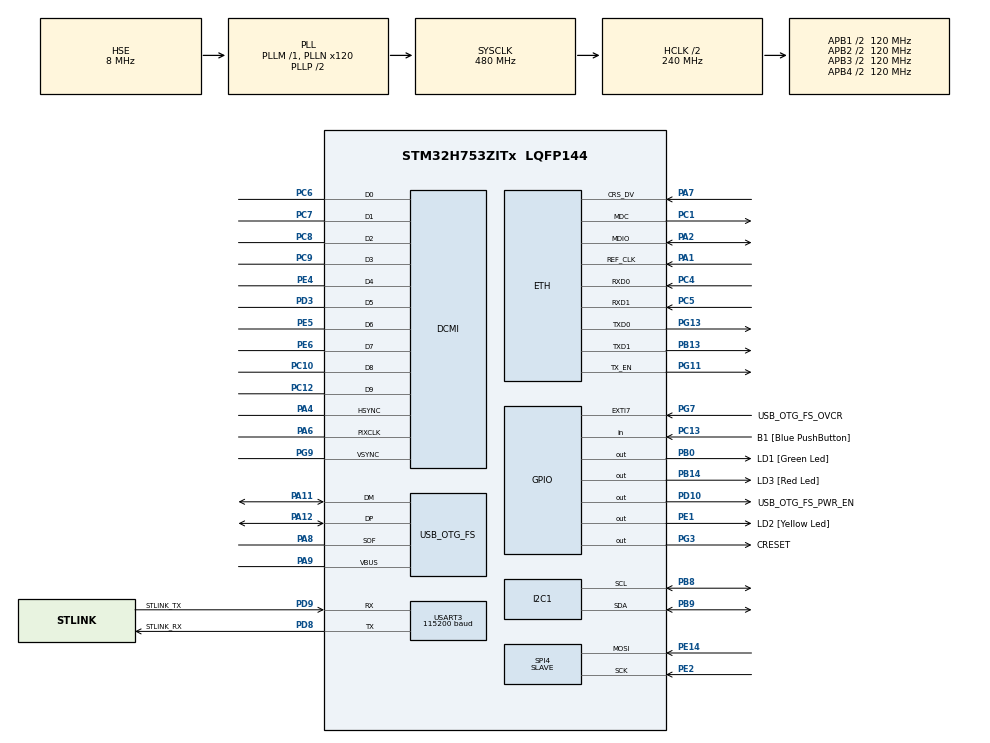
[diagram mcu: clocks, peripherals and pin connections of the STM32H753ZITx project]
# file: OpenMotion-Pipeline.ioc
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CORTEX_M7.CPU_DCache=Disabled
CORTEX_M7.CPU_ICache=Disabled
CORTEX_M7.MPU_Control=__NULL
DCMI.HSPolarity=DCMI_HSPOLARITY_HIGH
DCMI.PCKPolarity=DCMI_PCKPOLARITY_FALLING
DCMI.VSPolarity=DCMI_VSPOLARITY_HIGH
Dma.Request0=USART3_RX
Dma.Request1=USART3_TX
Dma.USART3_RX.0.Direction=DMA_PERIPH_TO_MEMORY
Dma.USART3_RX.0.EventEnable=DISABLE
Dma.USART3_RX.0.FIFOMode=DMA_FIFOMODE_DISABLE
Dma.USART3_RX.0.Instance=DMA1_Stream0
Dma.USART3_RX.0.MemDataAlignment=DMA_MDATAALIGN_BYTE
Dma.USART3_RX.0.MemInc=DMA_MINC_ENABLE
Dma.USART3_RX.0.Mode=DMA_NORMAL
Dma.USART3_RX.0.PeriphDataAlignment=DMA_PDATAALIGN_BYTE
Dma.USART3_RX.0.PeriphInc=DMA_PINC_DISABLE
Dma.USART3_RX.0.Polarity=HAL_DMAMUX_REQ_GEN_RISING
Dma.USART3_RX.0.Priority=DMA_PRIORITY_LOW
Dma.USART3_RX.0.RequestNumber=1
Dma.USART3_RX.0.SignalID=NONE
Dma.USART3_RX.0.SyncEnable=DISABLE
Dma.USART3_RX.0.SyncPolarity=HAL_DMAMUX_SYNC_NO_EVENT
Dma.USART3_RX.0.SyncRequestNumber=1
Dma.USART3_RX.0.SyncSignalID=NONE
Dma.USART3_TX.1.Direction=DMA_MEMORY_TO_PERIPH
Dma.USART3_TX.1.EventEnable=DISABLE
Dma.USART3_TX.1.FIFOMode=DMA_FIFOMODE_DISABLE
Dma.USART3_TX.1.Instance=DMA1_Stream1
Dma.USART3_TX.1.MemDataAlignment=DMA_MDATAALIGN_BYTE
Dma.USART3_TX.1.MemInc=DMA_MINC_ENABLE
Dma.USART3_TX.1.Mode=DMA_NORMAL
Dma.USART3_TX.1.PeriphDataAlignment=DMA_PDATAALIGN_BYTE
Dma.USART3_TX.1.PeriphInc=DMA_PINC_DISABLE
Dma.USART3_TX.1.Polarity=HAL_DMAMUX_REQ_GEN_RISING
Dma.USART3_TX.1.Priority=DMA_PRIORITY_LOW
Dma.USART3_TX.1.RequestNumber=1
Dma.USART3_TX.1.SignalID=NONE
Dma.USART3_TX.1.SyncEnable=DISABLE
Dma.USART3_TX.1.SyncPolarity=HAL_DMAMUX_SYNC_NO_EVENT
Dma.USART3_TX.1.SyncRequestNumber=1
Dma.USART3_TX.1.SyncSignalID=NONE
ETH.ETH_RX_DESC_CNT=4
ETH.ETH_TX_DESC_CNT=4
ETH.MACAddr=00\:80\:E1\:00\:00\:00
ETH.MediaInterface=HAL_ETH_RMII_MODE
ETH.RxBuffAddress=0x30040200
ETH.RxBuffLen=1524
ETH.RxDescAddress=0x30040000
ETH.TxDescAddress=0x30040060
FREERTOS.Tasks01=defaultTask,24,128,StartDefaultTask,Default,NULL,Dynamic,NULL,NULL
FREERTOS.configUSE_NEWLIB_REENTRANT=1
I2C1.Timing=0x307075B1
LWIP.BSP.number=1
LWIP.Version=v2.1.2_Cube
LWIP0.BSP.STBoard=false
LWIP0.BSP.api=BSP_COMPONENT_DRIVER
LWIP0.BSP.component=LAN8742
LWIP0.BSP.instance=LAN8742
LWIP0.BSP.name=Driver_PHY
LWIP0.BSP.semaphore=S_LAN8742
LWIP0.BSP.solution=LAN8742
Mcu.Family=STM32H7
Mcu.Name=STM32H753ZITx
Mcu.Package=LQFP144
NVIC.DCMI_IRQn=true\:5\:0\:false\:false\:true\:true\:true\:true\:true
NVIC.DMA1_Stream0_IRQn=true\:5\:0\:false\:false\:true\:true\:false\:true\:true
NVIC.DMA1_Stream1_IRQn=true\:5\:0\:false\:false\:true\:true\:false\:true\:true
NVIC.OTG_FS_IRQn=true\:5\:0\:false\:false\:true\:true\:false\:true\:true
NVIC.PriorityGroup=NVIC_PRIORITYGROUP_4
NVIC.TIM7_IRQn=true\:15\:0\:false\:false\:true\:false\:false\:true\:true
NVIC.TimeBase=TIM7_IRQn
NVIC.TimeBaseIP=TIM7
NVIC.USART3_IRQn=true\:5\:0\:false\:false\:true\:true\:true\:true\:true
PA1.Mode=RMII
PA1.Signal=ETH_REF_CLK
PA11.Mode=Device_Only
PA11.Signal=USB_OTG_FS_DM
PA12.Mode=Device_Only
PA12.Signal=USB_OTG_FS_DP
PA13\ (JTMS/SWDIO).Mode=Serial_Wire
PA13\ (JTMS/SWDIO).Signal=DEBUG_JTMS-SWDIO
PA14\ (JTCK/SWCLK).Mode=Serial_Wire
PA14\ (JTCK/SWCLK).Signal=DEBUG_JTCK-SWCLK
PA2.Mode=RMII
PA2.Signal=ETH_MDIO
PA4.Mode=Slave_10_bits_External_Synchro
PA4.Signal=DCMI_HSYNC
PA6.Mode=Slave_10_bits_External_Synchro
PA6.Signal=DCMI_PIXCLK
PA7.Mode=RMII
PA7.Signal=ETH_CRS_DV
PA8.Mode=Activate_SOF_FS
PA8.Signal=USB_OTG_FS_SOF
PA9.Mode=Activate_VBUS
PA9.Signal=USB_OTG_FS_VBUS
PB0.GPIO_Label=LD1 [Green Led]
PB0.Signal=GPIO_Output
PB13.Mode=RMII
PB13.Signal=ETH_TXD1
PB14.GPIO_Label=LD3 [Red Led]
PB14.Signal=GPIO_Output
PB8.Mode=I2C
PB8.Signal=I2C1_SCL
PB9.Mode=I2C
PB9.Signal=I2C1_SDA
PC1.Mode=RMII
PC1.Signal=ETH_MDC
PC10.Mode=Slave_10_bits_External_Synchro
PC10.Signal=DCMI_D8
PC12.Mode=Slave_10_bits_External_Synchro
PC12.Signal=DCMI_D9
PC13.GPIO_Label=B1 [Blue PushButton]
PC13.Signal=GPIO_Input
PC14-OSC32_IN\ (OSC32_IN).Mode=LSE-External-Oscillator
PC14-OSC32_IN\ (OSC32_IN).Signal=RCC_OSC32_IN
PC15-OSC32_OUT\ (OSC32_OUT).Mode=LSE-External-Oscillator
PC15-OSC32_OUT\ (OSC32_OUT).Signal=RCC_OSC32_OUT
PC4.Mode=RMII
PC4.Signal=ETH_RXD0
PC5.Mode=RMII
PC5.Signal=ETH_RXD1
PC6.Mode=Slave_10_bits_External_Synchro
PC6.Signal=DCMI_D0
PC7.Mode=Slave_10_bits_External_Synchro
PC7.Signal=DCMI_D1
PC8.Mode=Slave_10_bits_External_Synchro
PC8.Signal=DCMI_D2
PC9.Mode=Slave_10_bits_External_Synchro
PC9.Signal=DCMI_D3
PD10.GPIO_Label=USB_OTG_FS_PWR_EN
PD10.Signal=GPIO_Output
PD3.Mode=Slave_10_bits_External_Synchro
PD3.Signal=DCMI_D5
PD8.GPIO_Label=STLINK_RX
PD8.Mode=Asynchronous
PD8.Signal=USART3_TX
PD9.GPIO_Label=STLINK_TX
PD9.Mode=Asynchronous
PD9.Signal=USART3_RX
PE1.GPIO_Label=LD2 [Yellow Led]
PE1.Signal=GPIO_Output
PE14.Mode=RX_Only_Simplex_Unidirect_Slave
PE14.Signal=SPI4_MOSI
PE2.Mode=RX_Only_Simplex_Unidirect_Slave
PE2.Signal=SPI4_SCK
PE4.Mode=Slave_10_bits_External_Synchro
PE4.Signal=DCMI_D4
PE5.Mode=Slave_10_bits_External_Synchro
PE5.Signal=DCMI_D6
PE6.Mode=Slave_10_bits_External_Synchro
PE6.Signal=DCMI_D7
PG11.Mode=RMII
PG11.Signal=ETH_TX_EN
PG13.Mode=RMII
PG13.Signal=ETH_TXD0
PG3.GPIO_Label=CRESET
PG3.Signal=GPIO_Output
PG7.GPIO_Label=USB_OTG_FS_OVCR
PG7.Signal=GPXTI7
PG9.Mode=Slave_10_bits_External_Synchro
PG9.Signal=DCMI_VSYNC
PH0-OSC_IN\ (PH0).Mode=HSE-External-Clock-Source
PH0-OSC_IN\ (PH0).Signal=RCC_OSC_IN
ProjectManager.HeapSize=0x200
ProjectManager.StackSize=0x400
ProjectManager.TargetToolchain=STM32CubeIDE
RCC.ADCFreq_Value=16125000
RCC.APB1Freq_Value=120000000
RCC.APB2Freq_Value=120000000
RCC.APB3Freq_Value=120000000
RCC.APB4Freq_Value=120000000
RCC.CortexFreq_Value=480000000
RCC.D1PPRE=RCC_APB3_DIV2
RCC.D2PPRE1=RCC_APB1_DIV2
RCC.D2PPRE2=RCC_APB2_DIV2
RCC.D3PPRE=RCC_APB4_DIV2
RCC.DIVM1=1
RCC.DIVM3=4
RCC.DIVN1=120
RCC.DIVN3=96
RCC.DIVQ1=4
RCC.DIVQ3=4
RCC.HCLKFreq_Value=240000000
RCC.HPRE=RCC_HCLK_DIV2
RCC.HSE_VALUE=8000000
RCC.PLLFRACN=0
RCC.PLLSourceVirtual=RCC_PLLSOURCE_HSE
RCC.PWR_Regulator_Voltage_Scale=PWR_REGULATOR_VOLTAGE_SCALE0
RCC.SYSCLKFreq_VALUE=480000000
RCC.SYSCLKSource=RCC_SYSCLKSOURCE_PLLCLK
RCC.USBCLockSelection=RCC_USBCLKSOURCE_PLL3
RCC.USBFreq_Value=48000000
SPI4.DataSize=SPI_DATASIZE_8BIT
SPI4.Direction=SPI_DIRECTION_2LINES_RXONLY
SPI4.Mode=SPI_MODE_SLAVE
SPI4.VirtualType=VM_SLAVE
TIM12.Period=50-1
TIM12.Prescaler=27499
TIM13.Period=4999
TIM13.Prescaler=27499
USART3.AutoBaudRateEnableParam=UART_ADVFEATURE_AUTOBAUDRATE_DISABLE
USART3.BaudRate=115200
USART3.ClockPrescaler=PRESCALER_DIV1
USART3.DMADisableonRxErrorParam=ADVFEATURE_DMA_ENABLEONRXERROR
USART3.DataInvertParam=ADVFEATURE_DATAINV_DISABLE
USART3.FIFOMode=FIFOMODE_DISABLE
USART3.MSBFirstParam=ADVFEATURE_MSBFIRST_DISABLE
USART3.Mode=MODE_TX_RX
USART3.OneBitSampling=UART_ONE_BIT_SAMPLE_DISABLE
USART3.OverSampling=UART_OVERSAMPLING_16
USART3.OverrunDisableParam=ADVFEATURE_OVERRUN_ENABLE
USART3.Parity=PARITY_NONE
USART3.RXFIFOThreshold=RXFIFO_THRESHOLD_1EIGHTHFULL
USART3.RxPinLevelInvertParam=ADVFEATURE_RXINV_DISABLE
USART3.StopBits=STOPBITS_1
USART3.SwapParam=ADVFEATURE_SWAP_DISABLE
USART3.TXFIFOThreshold=TXFIFO_THRESHOLD_1EIGHTHFULL
USART3.TxPinLevelInvertParam=ADVFEATURE_TXINV_DISABLE
USART3.VirtualMode-Asynchronous=VM_ASYNC
USART3.WordLength=WORDLENGTH_8B
USB_DEVICE.CLASS_NAME_FS=CDC
USB_DEVICE.VirtualMode-CDC_FS=Cdc
USB_DEVICE.VirtualModeFS=Cdc_FS
USB_OTG_FS.Sof_enable=ENABLE
USB_OTG_FS.VirtualMode=Device_Only
USB_OTG_FS.battery_charging_enable=ENABLE
USB_OTG_FS.low_power_enable=DISABLE
USB_OTG_FS.lpm_enable=DISABLE
USB_OTG_FS.use_dedicated_ep1=DISABLE
USB_OTG_FS.vbus_sensing_enable=ENABLE
VP_CRC_VS_CRC.Mode=CRC_Activate
VP_FREERTOS_VS_CMSIS_V2.Mode=CMSIS_V2
VP_LWIP_VS_Enabled.Mode=Enabled
VP_MEMORYMAP_VS_MEMORYMAP.Mode=CurAppReg
VP_SYS_VS_tim7.Mode=TIM7
VP_TIM12_VS_ClockSourceINT.Mode=Internal
VP_TIM13_VS_ClockSourceINT.Mode=Enable_Timer
VP_USB_DEVICE_VS_USB_DEVICE_CDC_FS.Mode=CDC_FS
board=NUCLEO-H753ZI

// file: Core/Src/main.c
/* USER CODE BEGIN Header */
/**
  ******************************************************************************
  * @file           : main.c
  * @brief          : Main program body
  ******************************************************************************
  * @attention
  *
  * Copyright (c) 2024 STMicroelectronics.
  * All rights reserved.
  *
  * This software is licensed under terms that can be found in the LICENSE file
  * in the root directory of this software component.
  * If no LICENSE file comes with this software, it is provided AS-IS.
  *
  ******************************************************************************
  */
/* USER CODE END Header */
#include "main.h"
#include "cmsis_os.h"
#include "lwip.h"
#include "usb_device.h"

/* USER CODE BEGIN Includes */
#include "usbd_cdc_if.h"
#include "uart_comms.h"
#include "i2c_master.h"
#include "logging.h"
#include "utils.h"
#include "0X02C1B.h"
#include <stdio.h>
#include <string.h>
#include <stdbool.h>

/* USER CODE END Includes */

/* USER CODE BEGIN PD */

// Pressure Sensor Specific
#define MPL3115A2R1_I2C_ADDRESS  0x60  // I2C address for MPL3115A2R1
#define MPL3115A2R1_WHO_AM_I_REG 0x0C  // WHO_AM_I register address
#define MPL3115A2R1_DEVICE_ID    0xC4  // Expected WHO_AM_I value
#define MPL3115A2R1_READ_ADDR    0xC1
#define MPL3115A2R1_WRITE_ADDR   0xC0
#define MPL3115A2R1_CTRL_REG1	 0x26

// IMU Sensor Specific
#define ICM20948_ADDR 0x68
#define ICM20948_WHO_AM_I_REG 0x00  // WHO_AM_I register address
#define ICM20948_EXPECTED_ID 0xEA   // Expected device ID

/* USER CODE END PD */

CRC_HandleTypeDef hcrc;

DCMI_HandleTypeDef hdcmi;

I2C_HandleTypeDef hi2c1;

SPI_HandleTypeDef hspi4;

TIM_HandleTypeDef htim12;
TIM_HandleTypeDef htim13;

UART_HandleTypeDef huart3;
DMA_HandleTypeDef hdma_usart3_rx;
DMA_HandleTypeDef hdma_usart3_tx;

/* Definitions for defaultTask */
osThreadId_t defaultTaskHandle;
const osThreadAttr_t defaultTask_attributes = {
  .name = "defaultTask",
  .stack_size = 128 * 4,
  .priority = (osPriority_t) osPriorityNormal,
};
/* USER CODE BEGIN PV */
uint8_t FIRMWARE_VERSION_DATA[3] = {1, 0, 0};

osThreadId_t ledTaskHandle;
const osThreadAttr_t ledTask_attributes = {
  .name = "ledTask",
  .stack_size = 128 * 4,
  .priority = (osPriority_t) osPriorityNormal,
};

osThreadId_t comTaskHandle;
const osThreadAttr_t comTask_attributes = {
  .name = "comTask",
  .stack_size = 256 * 4,
  .priority = (osPriority_t) osPriorityNormal,
};

/* Allocate a buffer for the 160KB bitstream */
uint8_t bitstream_buffer[MAX_BITSTREAM_SIZE];  // 160KB buffer

uint8_t rxBuffer[COMMAND_MAX_SIZE];
uint8_t txBuffer[COMMAND_MAX_SIZE];

uint16_t frame_buffer[320 * 240];  // Buffer to store the image data

/* USER CODE END PV */

void SystemClock_Config(void);
static void MX_GPIO_Init(void);
static void MX_DMA_Init(void);
static void MX_I2C1_Init(void);
static void MX_SPI4_Init(void);
static void MX_TIM12_Init(void);
static void MX_TIM13_Init(void);
static void MX_USART3_UART_Init(void);
static void MX_DCMI_Init(void);
static void MX_CRC_Init(void);
void StartDefaultTask(void *argument);

/* USER CODE BEGIN PFP */
void LEDTask(void *argument);
void COMTask(void *argument);

/* USER CODE END PFP */

/* USER CODE BEGIN 0 */

static HAL_StatusTypeDef ICM20948_ReadID(I2C_HandleTypeDef *hi2c, uint8_t *id)
{
    HAL_StatusTypeDef result;
    uint8_t reg = ICM20948_WHO_AM_I_REG;

    // Send the register address to read from
    result = HAL_I2C_Master_Transmit(hi2c, ICM20948_ADDR << 1, &reg, 1, HAL_MAX_DELAY);
    if (result != HAL_OK)
    {
        return result;  // Return if there's an error transmitting the register address
    }

    // Read the WHO_AM_I register
    result = HAL_I2C_Master_Receive(hi2c, ICM20948_ADDR << 1, id, 1, HAL_MAX_DELAY);
    return result;
}

int MPL3115A2R1_ReadID(I2C_HandleTypeDef *hi2c, uint8_t *id)
{
    HAL_StatusTypeDef ret;

    uint8_t trans_data[1] = {MPL3115A2R1_WHO_AM_I_REG}; //0x0C is the "Who am i" register
    uint8_t rec_data[1] = {0x00};

    ret = HAL_I2C_Mem_Read(&hi2c1, MPL3115A2R1_I2C_ADDRESS << 1, trans_data[0], sizeof(trans_data) / sizeof(trans_data[0]), rec_data,sizeof(rec_data) / sizeof(rec_data[0]) , 1000);
    if (ret != HAL_OK)
	{
		return -1;  // Return error if we can't send the register address
	}
    else
	{
    	*id = rec_data[0];
	}

    return 1;  // Return success if the correct device ID is found
}

/* USER CODE END 0 */

int main(void)
{

  /* USER CODE BEGIN 1 */
  uint8_t imu_id;
  uint8_t pressure_id;

  /* USER CODE END 1 */

  /* MCU Configuration--------------------------------------------------------*/

  /* Reset of all peripherals, Initializes the Flash interface and the Systick. */
  HAL_Init();

  /* Configure the system clock */
  SystemClock_Config();

  /* Initialize all configured peripherals */
  MX_GPIO_Init();
  MX_DMA_Init();
  MX_I2C1_Init();
  MX_SPI4_Init();
  MX_TIM12_Init();
  MX_TIM13_Init();
  MX_USART3_UART_Init();
  MX_DCMI_Init();
  MX_CRC_Init();
  /* USER CODE BEGIN 2 */
  init_dma_logging();
  printf("\033c");
  printf("Openwater Pipeline Demo FW v%d.%d.%d\r\n\r\n",FIRMWARE_VERSION_DATA[0], FIRMWARE_VERSION_DATA[1], FIRMWARE_VERSION_DATA[2]);
  printf("CPU Clock Frequency: %lu MHz\r\n", HAL_RCC_GetSysClockFreq() / 1000000);
  printf("Initializing, please wait ...\r\n");

  printf("\r\nI2C Scan, please wait ...\r\n\r\n");
  I2C_scan(NULL, 0, true);

  HAL_Delay(100);
  // X02C1B_detect();

  if (ICM20948_ReadID(&hi2c1, &imu_id) == HAL_OK)
  {
	if (imu_id == ICM20948_EXPECTED_ID)
	{
		printf("ICM-20948 detected! WHO_AM_I = 0x%02X\r\n", imu_id);
	}
	else
	{
		Error_Handler();
	}
  }
  else
  {
	Error_Handler();
  }

  HAL_Delay(100);

  if (MPL3115A2R1_ReadID(&hi2c1, &pressure_id) < 0)
  {
	Error_Handler();
  }
  else
  {
	printf("MPL3115 detected! WHO_AM_I = 0x%02X\r\n", pressure_id);
  }

  // Start the DCMI capture with DMA
  HAL_DCMI_Start_DMA(&hdcmi, DCMI_MODE_SNAPSHOT, (uint32_t)frame_buffer, 320 * 240);
  printf("\r\nSystem READY!\r\n\r\n");

  /* USER CODE END 2 */

  /* Init scheduler */
  osKernelInitialize();

  /* Create the thread(s) */
  /* creation of defaultTask */
  defaultTaskHandle = osThreadNew(StartDefaultTask, NULL, &defaultTask_attributes);

  /* USER CODE BEGIN RTOS_THREADS */
  ledTaskHandle = osThreadNew(LEDTask, NULL, &ledTask_attributes);
  comTaskHandle = osThreadNew(COMTask, NULL, &comTask_attributes);
  /* USER CODE END RTOS_THREADS */

  /* Start scheduler */
  osKernelStart();

  /* We should never get here as control is now taken by the scheduler */

  /* Infinite loop */
  while (1)
  {

  }
}

void SystemClock_Config(void)
{
  RCC_OscInitTypeDef RCC_OscInitStruct = {0};
  RCC_ClkInitTypeDef RCC_ClkInitStruct = {0};

  /** Supply configuration update enable
  */
  HAL_PWREx_ConfigSupply(PWR_LDO_SUPPLY);

  /** Configure the main internal regulator output voltage
  */
  __HAL_PWR_VOLTAGESCALING_CONFIG(PWR_REGULATOR_VOLTAGE_SCALE1);

  while(!__HAL_PWR_GET_FLAG(PWR_FLAG_VOSRDY)) {}

  __HAL_RCC_SYSCFG_CLK_ENABLE();
  __HAL_PWR_VOLTAGESCALING_CONFIG(PWR_REGULATOR_VOLTAGE_SCALE0);

  while(!__HAL_PWR_GET_FLAG(PWR_FLAG_VOSRDY)) {}

  /** Initializes the RCC Oscillators according to the specified parameters
  * in the RCC_OscInitTypeDef structure.
  */
  RCC_OscInitStruct.OscillatorType = RCC_OSCILLATORTYPE_HSE;
  RCC_OscInitStruct.HSEState = RCC_HSE_BYPASS;
  RCC_OscInitStruct.PLL.PLLState = RCC_PLL_ON;
  RCC_OscInitStruct.PLL.PLLSource = RCC_PLLSOURCE_HSE;
  RCC_OscInitStruct.PLL.PLLM = 1;
  RCC_OscInitStruct.PLL.PLLN = 120;
  RCC_OscInitStruct.PLL.PLLP = 2;
  RCC_OscInitStruct.PLL.PLLQ = 4;
  RCC_OscInitStruct.PLL.PLLR = 2;
  RCC_OscInitStruct.PLL.PLLRGE = RCC_PLL1VCIRANGE_3;
  RCC_OscInitStruct.PLL.PLLVCOSEL = RCC_PLL1VCOWIDE;
  RCC_OscInitStruct.PLL.PLLFRACN = 0;
  if (HAL_RCC_OscConfig(&RCC_OscInitStruct) != HAL_OK)
  {
    Error_Handler();
  }

  /** Initializes the CPU, AHB and APB buses clocks
  */
  RCC_ClkInitStruct.ClockType = RCC_CLOCKTYPE_HCLK|RCC_CLOCKTYPE_SYSCLK
                              |RCC_CLOCKTYPE_PCLK1|RCC_CLOCKTYPE_PCLK2
                              |RCC_CLOCKTYPE_D3PCLK1|RCC_CLOCKTYPE_D1PCLK1;
  RCC_ClkInitStruct.SYSCLKSource = RCC_SYSCLKSOURCE_PLLCLK;
  RCC_ClkInitStruct.SYSCLKDivider = RCC_SYSCLK_DIV1;
  RCC_ClkInitStruct.AHBCLKDivider = RCC_HCLK_DIV2;
  RCC_ClkInitStruct.APB3CLKDivider = RCC_APB3_DIV2;
  RCC_ClkInitStruct.APB1CLKDivider = RCC_APB1_DIV2;
  RCC_ClkInitStruct.APB2CLKDivider = RCC_APB2_DIV2;
  RCC_ClkInitStruct.APB4CLKDivider = RCC_APB4_DIV2;

  if (HAL_RCC_ClockConfig(&RCC_ClkInitStruct, FLASH_LATENCY_4) != HAL_OK)
  {
    Error_Handler();
  }
}

static void MX_CRC_Init(void)
{

  hcrc.Instance = CRC;
  hcrc.Init.DefaultPolynomialUse = DEFAULT_POLYNOMIAL_ENABLE;
  hcrc.Init.DefaultInitValueUse = DEFAULT_INIT_VALUE_ENABLE;
  hcrc.Init.InputDataInversionMode = CRC_INPUTDATA_INVERSION_NONE;
  hcrc.Init.OutputDataInversionMode = CRC_OUTPUTDATA_INVERSION_DISABLE;
  hcrc.InputDataFormat = CRC_INPUTDATA_FORMAT_BYTES;
  if (HAL_CRC_Init(&hcrc) != HAL_OK)
  {
    Error_Handler();
  }

}

static void MX_DCMI_Init(void)
{

  hdcmi.Instance = DCMI;
  hdcmi.Init.SynchroMode = DCMI_SYNCHRO_HARDWARE;
  hdcmi.Init.PCKPolarity = DCMI_PCKPOLARITY_FALLING;
  hdcmi.Init.VSPolarity = DCMI_VSPOLARITY_HIGH;
  hdcmi.Init.HSPolarity = DCMI_HSPOLARITY_HIGH;
  hdcmi.Init.CaptureRate = DCMI_CR_ALL_FRAME;
  hdcmi.Init.ExtendedDataMode = DCMI_EXTEND_DATA_10B;
  hdcmi.Init.JPEGMode = DCMI_JPEG_DISABLE;
  hdcmi.Init.ByteSelectMode = DCMI_BSM_ALL;
  hdcmi.Init.ByteSelectStart = DCMI_OEBS_ODD;
  hdcmi.Init.LineSelectMode = DCMI_LSM_ALL;
  hdcmi.Init.LineSelectStart = DCMI_OELS_ODD;
  if (HAL_DCMI_Init(&hdcmi) != HAL_OK)
  {
    Error_Handler();
  }

}

static void MX_I2C1_Init(void)
{

  hi2c1.Instance = I2C1;
  hi2c1.Init.Timing = 0x307075B1;
  hi2c1.Init.OwnAddress1 = 0;
  hi2c1.Init.AddressingMode = I2C_ADDRESSINGMODE_7BIT;
  hi2c1.Init.DualAddressMode = I2C_DUALADDRESS_DISABLE;
  hi2c1.Init.OwnAddress2 = 0;
  hi2c1.Init.OwnAddress2Masks = I2C_OA2_NOMASK;
  hi2c1.Init.GeneralCallMode = I2C_GENERALCALL_DISABLE;
  hi2c1.Init.NoStretchMode = I2C_NOSTRETCH_DISABLE;
  if (HAL_I2C_Init(&hi2c1) != HAL_OK)
  {
    Error_Handler();
  }

  /** Configure Analogue filter
  */
  if (HAL_I2CEx_ConfigAnalogFilter(&hi2c1, I2C_ANALOGFILTER_ENABLE) != HAL_OK)
  {
    Error_Handler();
  }

  /** Configure Digital filter
  */
  if (HAL_I2CEx_ConfigDigitalFilter(&hi2c1, 0) != HAL_OK)
  {
    Error_Handler();
  }

}

static void MX_SPI4_Init(void)
{

  /* SPI4 parameter configuration*/
  hspi4.Instance = SPI4;
  hspi4.Init.Mode = SPI_MODE_SLAVE;
  hspi4.Init.Direction = SPI_DIRECTION_2LINES_RXONLY;
  hspi4.Init.DataSize = SPI_DATASIZE_8BIT;
  hspi4.Init.CLKPolarity = SPI_POLARITY_LOW;
  hspi4.Init.CLKPhase = SPI_PHASE_1EDGE;
  hspi4.Init.NSS = SPI_NSS_SOFT;
  hspi4.Init.FirstBit = SPI_FIRSTBIT_MSB;
  hspi4.Init.TIMode = SPI_TIMODE_DISABLE;
  hspi4.Init.CRCCalculation = SPI_CRCCALCULATION_DISABLE;
  hspi4.Init.CRCPolynomial = 0x0;
  hspi4.Init.NSSPMode = SPI_NSS_PULSE_DISABLE;
  hspi4.Init.NSSPolarity = SPI_NSS_POLARITY_LOW;
  hspi4.Init.FifoThreshold = SPI_FIFO_THRESHOLD_01DATA;
  hspi4.Init.TxCRCInitializationPattern = SPI_CRC_INITIALIZATION_ALL_ZERO_PATTERN;
  hspi4.Init.RxCRCInitializationPattern = SPI_CRC_INITIALIZATION_ALL_ZERO_PATTERN;
  hspi4.Init.MasterSSIdleness = SPI_MASTER_SS_IDLENESS_00CYCLE;
  hspi4.Init.MasterInterDataIdleness = SPI_MASTER_INTERDATA_IDLENESS_00CYCLE;
  hspi4.Init.MasterReceiverAutoSusp = SPI_MASTER_RX_AUTOSUSP_DISABLE;
  hspi4.Init.MasterKeepIOState = SPI_MASTER_KEEP_IO_STATE_DISABLE;
  hspi4.Init.IOSwap = SPI_IO_SWAP_DISABLE;
  if (HAL_SPI_Init(&hspi4) != HAL_OK)
  {
    Error_Handler();
  }

}

static void MX_TIM12_Init(void)
{

  TIM_ClockConfigTypeDef sClockSourceConfig = {0};
  TIM_MasterConfigTypeDef sMasterConfig = {0};

  htim12.Instance = TIM12;
  htim12.Init.Prescaler = 27499;
  htim12.Init.CounterMode = TIM_COUNTERMODE_UP;
  htim12.Init.Period = 50-1;
  htim12.Init.ClockDivision = TIM_CLOCKDIVISION_DIV1;
  htim12.Init.AutoReloadPreload = TIM_AUTORELOAD_PRELOAD_DISABLE;
  if (HAL_TIM_Base_Init(&htim12) != HAL_OK)
  {
    Error_Handler();
  }
  sClockSourceConfig.ClockSource = TIM_CLOCKSOURCE_INTERNAL;
  if (HAL_TIM_ConfigClockSource(&htim12, &sClockSourceConfig) != HAL_OK)
  {
    Error_Handler();
  }
  sMasterConfig.MasterOutputTrigger = TIM_TRGO_RESET;
  sMasterConfig.MasterSlaveMode = TIM_MASTERSLAVEMODE_DISABLE;
  if (HAL_TIMEx_MasterConfigSynchronization(&htim12, &sMasterConfig) != HAL_OK)
  {
    Error_Handler();
  }

}

static void MX_TIM13_Init(void)
{

  htim13.Instance = TIM13;
  htim13.Init.Prescaler = 27499;
  htim13.Init.CounterMode = TIM_COUNTERMODE_UP;
  htim13.Init.Period = 4999;
  htim13.Init.ClockDivision = TIM_CLOCKDIVISION_DIV1;
  htim13.Init.AutoReloadPreload = TIM_AUTORELOAD_PRELOAD_DISABLE;
  if (HAL_TIM_Base_Init(&htim13) != HAL_OK)
  {
    Error_Handler();
  }

}

static void MX_USART3_UART_Init(void)
{

  huart3.Instance = USART3;
  huart3.Init.BaudRate = 115200;
  huart3.Init.WordLength = UART_WORDLENGTH_8B;
  huart3.Init.StopBits = UART_STOPBITS_1;
  huart3.Init.Parity = UART_PARITY_NONE;
  huart3.Init.Mode = UART_MODE_TX_RX;
  huart3.Init.HwFlowCtl = UART_HWCONTROL_NONE;
  huart3.Init.OverSampling = UART_OVERSAMPLING_16;
  huart3.Init.OneBitSampling = UART_ONE_BIT_SAMPLE_DISABLE;
  huart3.Init.ClockPrescaler = UART_PRESCALER_DIV1;
  huart3.AdvancedInit.AdvFeatureInit = UART_ADVFEATURE_NO_INIT;
  if (HAL_UART_Init(&huart3) != HAL_OK)
  {
    Error_Handler();
  }
  if (HAL_UARTEx_SetTxFifoThreshold(&huart3, UART_TXFIFO_THRESHOLD_1_8) != HAL_OK)
  {
    Error_Handler();
  }
  if (HAL_UARTEx_SetRxFifoThreshold(&huart3, UART_RXFIFO_THRESHOLD_1_8) != HAL_OK)
  {
    Error_Handler();
  }
  if (HAL_UARTEx_DisableFifoMode(&huart3) != HAL_OK)
  {
    Error_Handler();
  }

}

static void MX_DMA_Init(void)
{

  /* DMA controller clock enable */
  __HAL_RCC_DMA1_CLK_ENABLE();

  /* DMA interrupt init */
  /* DMA1_Stream0_IRQn interrupt configuration */
  HAL_NVIC_SetPriority(DMA1_Stream0_IRQn, 5, 0);
  HAL_NVIC_EnableIRQ(DMA1_Stream0_IRQn);
  /* DMA1_Stream1_IRQn interrupt configuration */
  HAL_NVIC_SetPriority(DMA1_Stream1_IRQn, 5, 0);
  HAL_NVIC_EnableIRQ(DMA1_Stream1_IRQn);

}

static void MX_GPIO_Init(void)
{
  GPIO_InitTypeDef GPIO_InitStruct = {0};

  /* GPIO Ports Clock Enable */
  __HAL_RCC_GPIOE_CLK_ENABLE();
  __HAL_RCC_GPIOC_CLK_ENABLE();
  __HAL_RCC_GPIOH_CLK_ENABLE();
  __HAL_RCC_GPIOA_CLK_ENABLE();
  __HAL_RCC_GPIOB_CLK_ENABLE();
  __HAL_RCC_GPIOD_CLK_ENABLE();
  __HAL_RCC_GPIOG_CLK_ENABLE();

  /*Configure GPIO pin Output Level */
  HAL_GPIO_WritePin(GPIOB, LD1_Pin|LD3_Pin, GPIO_PIN_RESET);

  /*Configure GPIO pin Output Level */
  HAL_GPIO_WritePin(USB_OTG_FS_PWR_EN_GPIO_Port, USB_OTG_FS_PWR_EN_Pin, GPIO_PIN_RESET);

  /*Configure GPIO pin Output Level */
  HAL_GPIO_WritePin(CRESET_GPIO_Port, CRESET_Pin, GPIO_PIN_RESET);

  /*Configure GPIO pin Output Level */
  HAL_GPIO_WritePin(LD2_GPIO_Port, LD2_Pin, GPIO_PIN_RESET);

  /*Configure GPIO pin : B1_Pin */
  GPIO_InitStruct.Pin = B1_Pin;
  GPIO_InitStruct.Mode = GPIO_MODE_INPUT;
  GPIO_InitStruct.Pull = GPIO_NOPULL;
  HAL_GPIO_Init(B1_GPIO_Port, &GPIO_InitStruct);

  /*Configure GPIO pins : LD1_Pin LD3_Pin */
  GPIO_InitStruct.Pin = LD1_Pin|LD3_Pin;
  GPIO_InitStruct.Mode = GPIO_MODE_OUTPUT_PP;
  GPIO_InitStruct.Pull = GPIO_NOPULL;
  GPIO_InitStruct.Speed = GPIO_SPEED_FREQ_LOW;
  HAL_GPIO_Init(GPIOB, &GPIO_InitStruct);

  /*Configure GPIO pin : USB_OTG_FS_PWR_EN_Pin */
  GPIO_InitStruct.Pin = USB_OTG_FS_PWR_EN_Pin;
  GPIO_InitStruct.Mode = GPIO_MODE_OUTPUT_PP;
  GPIO_InitStruct.Pull = GPIO_NOPULL;
  GPIO_InitStruct.Speed = GPIO_SPEED_FREQ_LOW;
  HAL_GPIO_Init(USB_OTG_FS_PWR_EN_GPIO_Port, &GPIO_InitStruct);

  /*Configure GPIO pin : CRESET_Pin */
  GPIO_InitStruct.Pin = CRESET_Pin;
  GPIO_InitStruct.Mode = GPIO_MODE_OUTPUT_PP;
  GPIO_InitStruct.Pull = GPIO_NOPULL;
  GPIO_InitStruct.Speed = GPIO_SPEED_FREQ_LOW;
  HAL_GPIO_Init(CRESET_GPIO_Port, &GPIO_InitStruct);

  /*Configure GPIO pin : USB_OTG_FS_OVCR_Pin */
  GPIO_InitStruct.Pin = USB_OTG_FS_OVCR_Pin;
  GPIO_InitStruct.Mode = GPIO_MODE_IT_RISING;
  GPIO_InitStruct.Pull = GPIO_NOPULL;
  HAL_GPIO_Init(USB_OTG_FS_OVCR_GPIO_Port, &GPIO_InitStruct);

  /*Configure GPIO pin : LD2_Pin */
  GPIO_InitStruct.Pin = LD2_Pin;
  GPIO_InitStruct.Mode = GPIO_MODE_OUTPUT_PP;
  GPIO_InitStruct.Pull = GPIO_NOPULL;
  GPIO_InitStruct.Speed = GPIO_SPEED_FREQ_LOW;
  HAL_GPIO_Init(LD2_GPIO_Port, &GPIO_InitStruct);

}

/* USER CODE BEGIN 4 */

void HAL_UARTEx_RxEventCallback(UART_HandleTypeDef *huart, uint16_t Size)
{
}

void HAL_UART_RxHalfCpltCallback(UART_HandleTypeDef *huart)
{
}

void HAL_UART_RxCpltCallback(UART_HandleTypeDef *huart)
{

}

void HAL_UART_TxCpltCallback(UART_HandleTypeDef *huart)
{
	if(huart->Instance == USART3)
	{
		logging_UART_TxCpltCallback(huart);
	}
}

void HAL_GPIO_EXTI_Callback(uint16_t pin)
{
	if(pin == B1_Pin)
	{
		  printf("Button Pressed\r\n");
	}
}

void LEDTask(void *argument)
{
	  printf("Starting LED Task\r\n");
	  for(;;)
	  {
		osDelay(500);
		HAL_GPIO_TogglePin(LD1_GPIO_Port, LD1_Pin);
	  }
}

void COMTask(void *argument)
{
	  printf("Starting COM Task\r\n");
	  comms_start_task();

}

void HAL_DCMI_FrameEventCallback(DCMI_HandleTypeDef *hdcmi)
{
    // This is called when a frame is completely captured
    // You can process the frame here
	HAL_GPIO_TogglePin(LD2_GPIO_Port, LD2_Pin);
}

void HAL_DCMI_LineEventCallback(DCMI_HandleTypeDef *hdcmi)
{
	HAL_GPIO_TogglePin(LD3_GPIO_Port, LD3_Pin);
}

/* USER CODE END 4 */

void StartDefaultTask(void *argument)
{
  /* init code for USB_DEVICE */
  MX_USB_DEVICE_Init();

  /* init code for LWIP */
  MX_LWIP_Init();
  for(;;)
  {
    osDelay(1);
  }
}

void HAL_TIM_PeriodElapsedCallback(TIM_HandleTypeDef *htim)
{
  /* USER CODE BEGIN Callback 0 */

  if (htim->Instance == TIM12) {
	  CDC_Idle_Timer_Handler();
  }

  /* USER CODE END Callback 0 */
  if (htim->Instance == TIM7) {
    HAL_IncTick();
  }
}

void Error_Handler(void)
{
  /* USER CODE BEGIN Error_Handler_Debug */
  /* User can add his own implementation to report the HAL error return state */
  HAL_GPIO_TogglePin(LD3_GPIO_Port, LD3_Pin);
  __disable_irq();
  while (1)
  {
  }
  /* USER CODE END Error_Handler_Debug */
}
